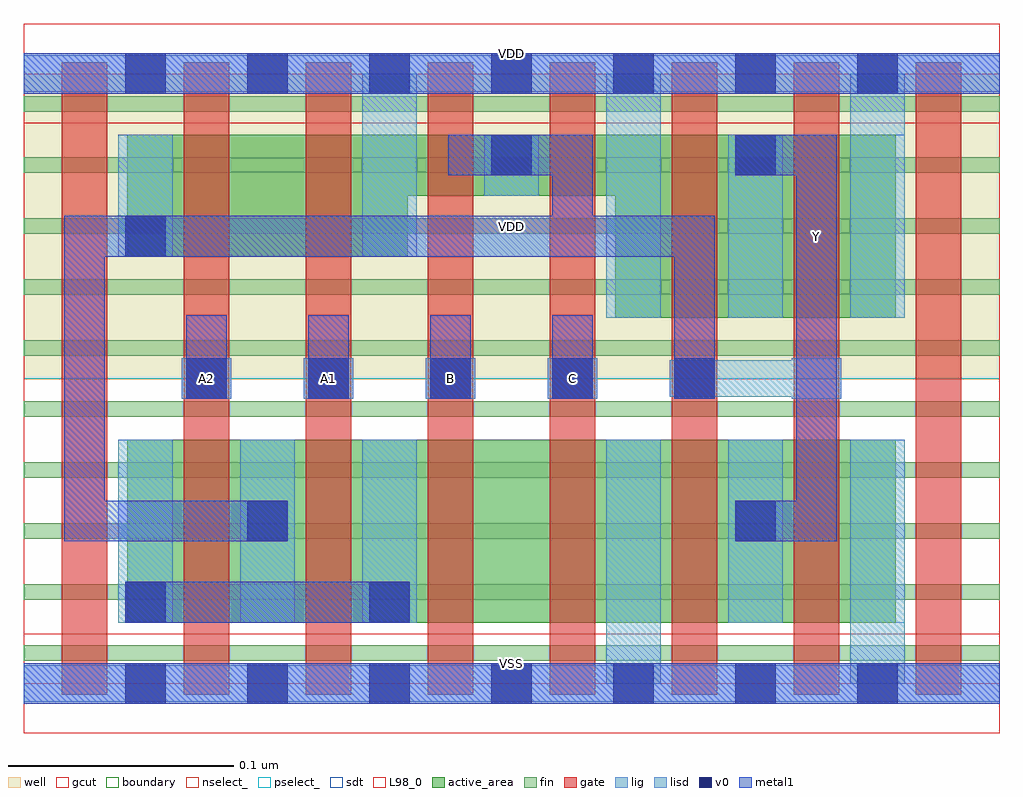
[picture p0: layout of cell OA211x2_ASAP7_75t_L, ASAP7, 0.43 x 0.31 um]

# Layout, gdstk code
import gdstk
lib = gdstk.Library(unit=1e-6, precision=2.5e-10)
def R(c, l, rs):  # rectangles x0, y0, x1, y1
    for r in rs: c.add(gdstk.rectangle(r[:2], r[2:], *l))
def A(c, l, x, y, w, h, nx, ny, dx, dy):  # array of equal rectangles
    R(c, l, [(x+i*dx, y+j*dy, x+i*dx+w, y+j*dy+h) for i in range(nx) for j in range(ny)])
def P(c, l, *ps):  # polygons
    for p in ps: c.add(gdstk.Polygon(p, *l))
well = (1, 0)
fin = (2, 0)
gate = (7, 0)
gcut = (10, 0)
active_area = (11, 0)
nselect_ = (12, 0)
pselect_ = (13, 0)
lig = (16, 0)
lisd = (17, 0)
v0 = (18, 0)
metal1 = (19, 0)
sdt = (88, 0)
L98_0 = (98, 0)
boundary = (100, 0)

oa211x2_asap7_75t_l = lib.new_cell('OA211x2_ASAP7_75t_L')
R(oa211x2_asap7_75t_l, well, [(0,0.135,0.432,0.27)])
A(oa211x2_asap7_75t_l, fin, 0, 0.01, 0.432, 0.007, 1, 10, 0, 0.027)
A(oa211x2_asap7_75t_l, gate, 0.017, -0.005, 0.02, 0.28, 8, 1, 0.054, 0)
R(oa211x2_asap7_75t_l, gcut, [(0,-0.022,0.432,0.022), (0,0.248,0.432,0.292)])
R(oa211x2_asap7_75t_l, active_area, [(0.046,0.027,0.386,0.108)])
P(oa211x2_asap7_75t_l, active_area, [(0.262,0.162),(0.262,0.216),(0.17,0.216),(0.17,0.189),(0.046,0.189),(0.046,0.243),(0.386,0.243),(0.386,0.162)])
R(oa211x2_asap7_75t_l, nselect_, [(0,0,0.432,0.135)])
R(oa211x2_asap7_75t_l, pselect_, [(0,0.135,0.432,0.27)])
A(oa211x2_asap7_75t_l, lig, 0.07, 0.126, 0.022, 0.018, 4, 1, 0.054, 0)
R(oa211x2_asap7_75t_l, lig, [(0,-0.008,0.432,0.008), (0.34,0.126,0.362,0.144), (0.286,0.127,0.362,0.143), (0,0.262,0.432,0.278)])
A(oa211x2_asap7_75t_l, lisd, 0.042, 0.027, 0.024, 0.081, 3, 1, 0.054, 0)
R(oa211x2_asap7_75t_l, lisd, [(0.258,0,0.282,0.108), (0.258,0,0.282,0.108), (0.366,0,0.39,0.108), (0.366,0,0.39,0.108), (0.312,0.027,0.336,0.108), (0.258,0.162,0.282,0.27), (0.258,0.162,0.282,0.27), (0.312,0.162,0.336,0.243), (0.366,0.162,0.39,0.27), (0.366,0.162,0.39,0.27), (0.042,0.189,0.066,0.243), (0.15,0.189,0.174,0.27), (0.204,0.216,0.228,0.243)])
A(oa211x2_asap7_75t_l, v0, 0.045, -0.009, 0.018, 0.018, 7, 2, 0.054, 0.27)
A(oa211x2_asap7_75t_l, v0, 0.072, 0.126, 0.018, 0.018, 5, 1, 0.054, 0)
R(oa211x2_asap7_75t_l, v0, [(0.045,0.027,0.063,0.045), (0.153,0.027,0.171,0.045), (0.099,0.063,0.117,0.081), (0.315,0.063,0.333,0.081), (0.045,0.189,0.063,0.207), (0.207,0.225,0.225,0.243), (0.315,0.225,0.333,0.243)])
A(oa211x2_asap7_75t_l, metal1, 0.072, 0.126, 0.018, 0.018, 5, 1, 0.054, 0)
A(oa211x2_asap7_75t_l, metal1, 0.072, 0.126, 0.018, 0.037, 4, 1, 0.054, 0)
R(oa211x2_asap7_75t_l, metal1, [(0,-0.009,0.432,0.009), (0.045,0.027,0.063,0.045), (0.045,0.027,0.171,0.045), (0.153,0.027,0.171,0.045), (0.099,0.063,0.117,0.081), (0.315,0.063,0.333,0.081), (0.045,0.189,0.063,0.207), (0.188,0.225,0.225,0.243), (0.315,0.225,0.333,0.243), (0,0.261,0.432,0.279)])
P(oa211x2_asap7_75t_l, metal1, [(0.018,0.063),(0.018,0.207),(0.234,0.207),(0.234,0.225),(0.207,0.225),(0.207,0.243),(0.252,0.243),(0.252,0.207),(0.306,0.207),(0.306,0.126),(0.288,0.126),(0.288,0.189),(0.036,0.189),(0.036,0.081),(0.117,0.081),(0.117,0.063)],
  [(0.315,0.063),(0.315,0.081),(0.342,0.081),(0.342,0.225),(0.315,0.225),(0.315,0.243),(0.36,0.243),(0.36,0.063)])
A(oa211x2_asap7_75t_l, sdt, 0.042, 0.027, 0.024, 0.081, 3, 1, 0.054, 0)
A(oa211x2_asap7_75t_l, sdt, 0.258, 0.027, 0.024, 0.081, 3, 2, 0.054, 0.135)
R(oa211x2_asap7_75t_l, sdt, [(0.258,0.027,0.282,0.108), (0.366,0.027,0.39,0.108), (0.258,0.162,0.282,0.243), (0.366,0.162,0.39,0.243), (0.042,0.189,0.066,0.243), (0.15,0.189,0.174,0.243), (0.204,0.216,0.228,0.243)])
R(oa211x2_asap7_75t_l, L98_0, [(0,0,0.432,0.27)])
R(oa211x2_asap7_75t_l, boundary, [(0,0,0.432,0.27)])
oa211x2_asap7_75t_l.add(gdstk.Label('VDD', (0.216,0.2025), layer=1, texttype=251))
oa211x2_asap7_75t_l.add(gdstk.Label('VSS', (0.216,-0.0675), layer=3, texttype=251))
oa211x2_asap7_75t_l.add(gdstk.Label('VSS', (0.216,0.009), layer=19, texttype=251))
oa211x2_asap7_75t_l.add(gdstk.Label('VDD', (0.216,0.279), layer=19, texttype=251))
oa211x2_asap7_75t_l.add(gdstk.Label('A2', (0.081,0.135), layer=19, texttype=251))
oa211x2_asap7_75t_l.add(gdstk.Label('A1', (0.135,0.135), layer=19, texttype=251))
oa211x2_asap7_75t_l.add(gdstk.Label('B', (0.189,0.135), layer=19, texttype=251))
oa211x2_asap7_75t_l.add(gdstk.Label('C', (0.243,0.135), layer=19, texttype=251))
oa211x2_asap7_75t_l.add(gdstk.Label('Y', (0.351,0.198), layer=19, texttype=251))

lib.write_gds('OA211x2_ASAP7_75t_L.gds')
